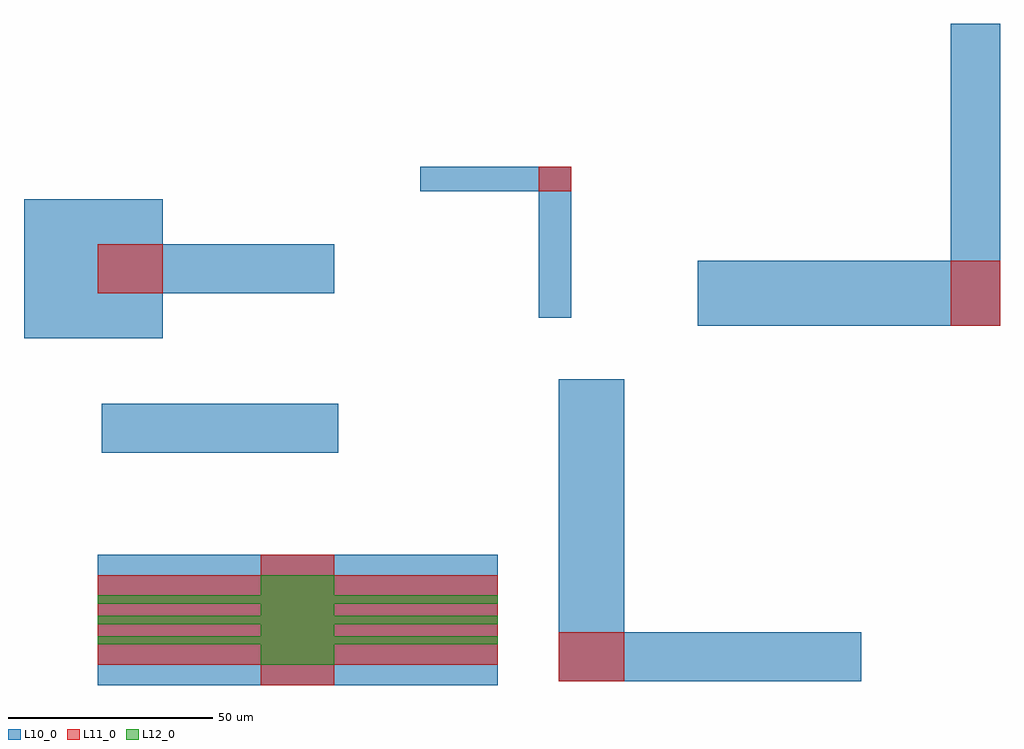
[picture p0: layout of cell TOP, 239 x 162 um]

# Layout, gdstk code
from math import pi, radians
import gdstk
lib = gdstk.Library(unit=1e-6, precision=1e-09)
def R(c, l, rs):  # rectangles x0, y0, x1, y1
    for r in rs: c.add(gdstk.rectangle(r[:2], r[2:], *l))
def P(c, l, *ps):  # polygons
    for p in ps: c.add(gdstk.Polygon(p, *l))
L10_0 = (10, 0)
L11_0 = (11, 0)
L12_0 = (12, 0)

c_a = lib.new_cell('A')

c_b = lib.new_cell('B')
P(c_b, L10_0, [(12,-17),(12,14),(-17,14),(-17,20),(20,20),(20,-17)])
R(c_b, L11_0, [(12,14,20,20)])

c_c = lib.new_cell('C')
c_c.add(gdstk.Reference(c_b, (14,28), rotation=pi))

top = lib.new_cell('TOP')
R(top, L10_0, [(7,-100,105,-68), (8,-43,66,-31)])
P(top, L10_0, [(-11,-15),(-11,19),(23,19),(23,8),(65,8),(65,-4),(23,-4),(23,-15)])
R(top, L11_0, [(7,-4,23,8)])
P(top, L11_0, [(47,-100),(47,-95),(7,-95),(7,-73),(47,-73),(47,-68),(65,-68),(65,-73),(105,-73),(105,-95),(65,-95),(65,-100)])
P(top, L12_0, [(47,-95),(47,-90),(7,-90),(7,-88),(47,-88),(47,-85),(7,-85),(7,-83),(47,-83),(47,-80),(7,-80),(7,-78),(47,-78),(47,-73),(65,-73),(65,-78),(105,-78),(105,-80),(65,-80),(65,-83),(105,-83),(105,-85),(65,-85),(65,-88),(105,-88),(105,-90),(65,-90),(65,-95)])
top.add(gdstk.Reference(c_a, (7,8)))
top.add(gdstk.Reference(c_a, (8,-31)))
r = gdstk.Reference(c_a, (7,-88)); r.repetition = gdstk.Repetition(2, 5, v1=(40,0), v2=(0,5)); top.add(r)
top.add(gdstk.Reference(c_b, (103,7)))
top.add(gdstk.Reference(c_b, (160,-59), rotation=pi, magnification=2))
top.add(gdstk.Reference(c_c, (244,0), rotation=pi/2, magnification=2))

lib.write_gds('TOP.gds')
